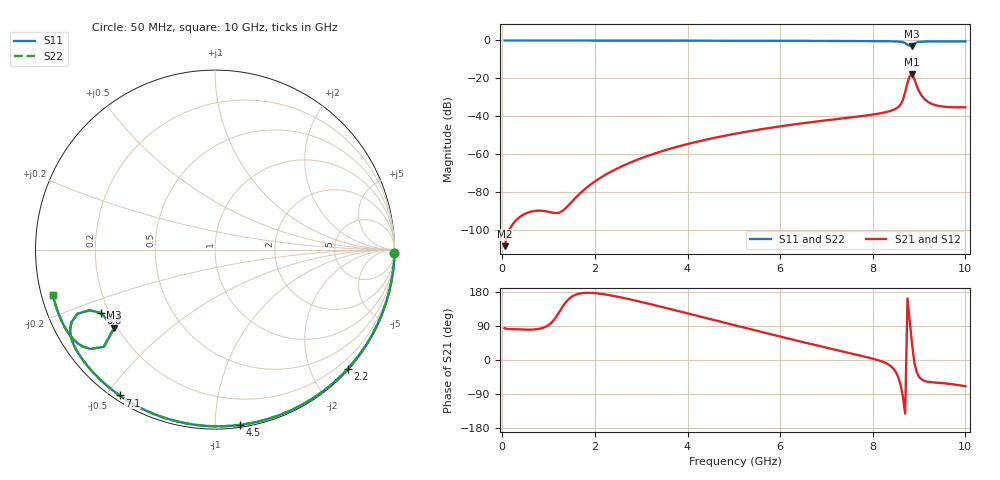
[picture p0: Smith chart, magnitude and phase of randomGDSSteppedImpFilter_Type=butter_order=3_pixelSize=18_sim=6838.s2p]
! freq	dB(S11)	phase(S11)	dB(S12)	phase(S12)
!  dB(S21)	phase(S21)	dB(S22)	phase(S22)
!S-par simulation data
#  GHz  S  DB  R 50
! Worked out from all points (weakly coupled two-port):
!   200 points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, 50 MHz to 10 GHz, reference 50 ohm
!   highest |S21| = -17.66 dB at 8.85 GHz (marker M1); lowest = -108.8 dB at 50 MHz (marker M2)
!   lowest |S11| = -3.0 dB at 8.85 GHz (marker M3), VSWR 5.91, Z = 9.42 - j16.5 ohm
!   |S11| at or under -10 dB: nowhere
!   |S22| runs from -2.9 to 0.0 dB; largest |S21 - S12| = 0
!   S11 on the Smith chart (normalised r, x): 50 MHz: open; 2.2 GHz: 0.02, -2.62; 4.5 GHz: 0.02, -1.15; 7.1 GHz: 0.02, -0.54; 8.8 GHz: 0.17, -0.25; 10 GHz: 0.03, -0.14
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0.05  -0.00 -1.0  -108.78 83.9  -108.78 83.9  -0.00 -1.0
1.75  -0.04 -33.5  -79.31 176.8  -79.31 176.8  -0.04 -33.5
2.2  -0.05 -41.8  -71.43 173.4  -71.43 173.4  -0.05 -41.8
2.75  -0.07 -51.8  -64.72 160.2  -64.72 160.2  -0.07 -51.8
3.4  -0.08 -63.3  -58.92 141.4  -58.92 141.4  -0.08 -63.3
4.5  -0.12 -82.0  -51.92 107.7  -51.92 107.7  -0.12 -82.0
5.05  -0.14 -91.1  -49.24 90.7  -49.24 90.7  -0.14 -91.1
6.7  -0.23 -117.0  -43.12 41.1  -43.12 41.1  -0.23 -117.0
7.1  -0.26 -123.2  -41.92 29.6  -41.92 29.6  -0.26 -123.2
8.35  -0.41 -144.0  -37.49 -12.8  -37.49 -12.8  -0.41 -144.0
8.6  -0.70 -151.0  -33.93 -65.2  -33.93 -65.2  -0.70 -151.0
8.65  -0.94 -153.1  -31.51 -96.6  -31.51 -96.6  -0.96 -153.2
8.7  -1.44 -155.0  -27.33 -141.4  -27.33 -141.4  -1.47 -155.0
8.75  -2.17 -154.3  -22.37 162.5  -22.37 162.5  -2.22 -154.1
8.8  -2.77 -151.0  -18.69 102.3  -18.69 102.3  -2.79 -150.5
8.85  -2.97 -142.3  -17.66 39.9  -17.66 39.9  -2.91 -142.0
8.9  -1.71 -138.8  -20.53 -8.1  -20.53 -8.1  -1.68 -138.9
9  -0.78 -143.9  -26.89 -44.6  -26.89 -44.6  -0.77 -144.0
9.1  -0.60 -147.5  -30.53 -54.5  -30.53 -54.5  -0.59 -147.5
9.2  -0.54 -150.1  -32.59 -57.7  -32.59 -57.7  -0.54 -150.1
9.5  -0.52 -156.0  -34.92 -60.9  -34.92 -60.9  -0.52 -156.0
10  -0.56 -164.4  -35.35 -69.3  -35.35 -69.3  -0.56 -164.4
